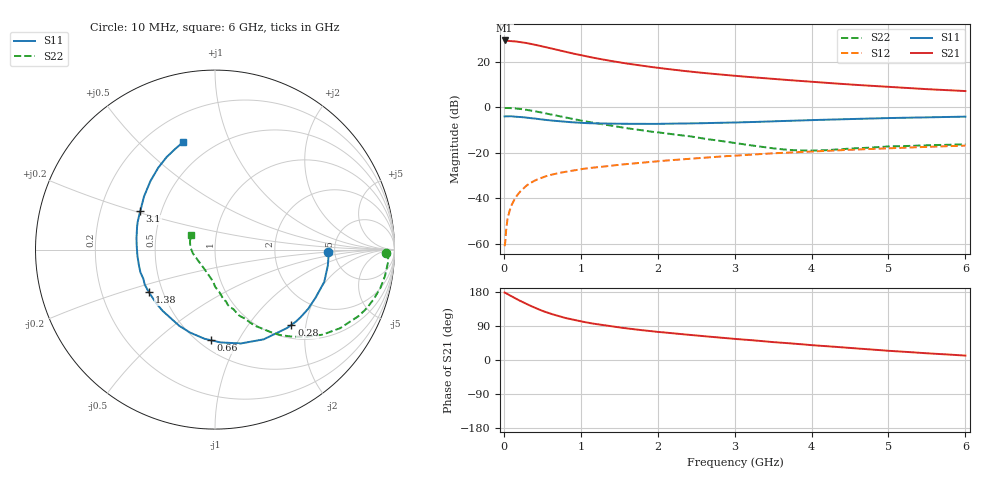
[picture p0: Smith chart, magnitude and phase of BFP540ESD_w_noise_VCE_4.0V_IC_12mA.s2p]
! Infineon Technologies  Discrete & RF Semiconductors
! BFP540ESD
! VCE =  4.0 V,  IC =  12 mA
! Common Emitter S-Parameters:  Nov 2015
# GHz  S  MA  R  50
!  f  S11  S21  S12  S22
! GHz  MAG  ANG  MAG  ANG  MAG  ANG  MAG  ANG
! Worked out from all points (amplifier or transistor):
!   210 points, 10 MHz to 6 GHz, reference 50 ohm
!   highest |S21| = 29.3 dB at 10 MHz (marker M1)
!   |S21| within 3 dB of that: start of sweep to 552.8 MHz
!   unconditionally stable (mu >= 1): start of sweep to 18.99 MHz; 2.551 GHz to end of sweep
!   at 185 MHz: K = 0.20, MSG = 33.4 dB, |S12| = -38.1 dB
!   at 1.52 GHz: K = 0.77, MSG = 22.4 dB, |S12| = -25.1 dB
!   at 6 GHz: K = 1.14, MAG = 9.7 dB, |S12| = -16.8 dB
!   lowest NFmin = 0.93 dB at 900 MHz
!   S11 on the Smith chart (normalised r, x): 10 MHz: 4.39, -0.18; 280 MHz: 1.27, -1.66; 660 MHz: 0.57, -0.78; 1.38 GHz: 0.42, -0.25; 3.1 GHz: 0.38, +0.21; 6 GHz: 0.35, +0.68
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0.01  0.6296 -1.1  29.24 177.9  0.0009 46.2  0.9546 -1.3
0.05  0.6349 -8.0  28.71 173.7  0.0037 74.3  0.9665 -4.3
0.1  0.6347 -16.4  28.38 168.2  0.0071 80.2  0.9586 -8.8
0.15  0.6228 -24.5  27.89 162.7  0.0102 75.0  0.9457 -13.1
0.2  0.6152 -32.4  27.19 157.3  0.0134 73.9  0.9264 -17.3
0.28  0.5975 -44.5  25.89 149.1  0.0182 71.7  0.8892 -23.6
0.4  0.5689 -61.5  23.65 137.9  0.0246 66.5  0.8227 -32.2
0.5  0.5424 -74.6  21.8 129.6  0.029 61.6  0.762 -38.5
0.6  0.5183 -86.5  19.8 122.5  0.0327 59.3  0.7029 -43.7
0.66  0.5055 -92.5  18.78 119.0  0.0345 57.8  0.6703 -46.4
0.8  0.4828 -106.7  16.53 110.9  0.0386 55.2  0.5983 -52.7
0.9  0.4688 -115.2  15.12 106.2  0.0411 53.2  0.5541 -56.0
1.02  0.4529 -124.3  13.68 101.3  0.0445 52.3  0.5061 -59.7
1.2  0.4438 -137.1  11.88 94.7  0.0482 50.4  0.4469 -64.6
1.38  0.438 -147.1  10.49 89.3  0.0519 49.4  0.3973 -69.1
1.7  0.4343 -162.9  8.612 80.8  0.059 48.0  0.3296 -75.7
2.02  0.4336 -175.2  7.278 73.9  0.0659 46.3  0.28 -80.4
2.58  0.448 166.6  5.699 63.2  0.0777 43.8  0.2079 -89.5
3.1  0.4682 152.9  4.751 54.2  0.089 40.7  0.156 -100.1
4.1  0.5294 131.6  3.529 37.8  0.109 33.9  0.1134 -151.2
5.1  0.5847 116.6  2.744 23.1  0.1281 26.2  0.1396 171.4
6  0.624 106.7  2.272 11.6  0.1445 20.6  0.1547 148.1
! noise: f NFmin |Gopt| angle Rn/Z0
0.9  0.93  0.16  -133  0.11
1.8  1.11  0.2  -149  0.1
2.4  1.12  0.2  -146  0.1
3  1.24  0.25  -142  0.11
4  1.35  0.38  -110  0.17
5  1.51  0.47  -91  0.3
6  1.78  0.53  -92  0.49
